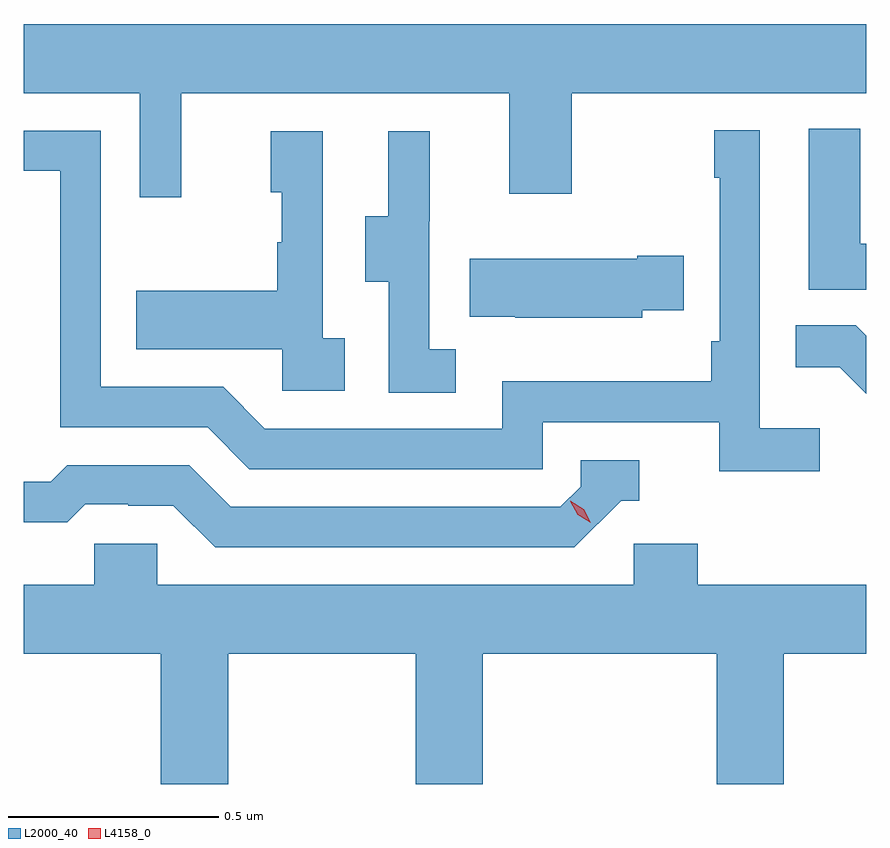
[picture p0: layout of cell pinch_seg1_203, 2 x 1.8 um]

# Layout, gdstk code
import gdstk
lib = gdstk.Library(unit=1e-6, precision=1e-09)
def P(c, l, *ps):  # polygons
    for p in ps: c.add(gdstk.Polygon(p, *l))
L2000_40 = (2000, 40)
L4158_0 = (4158, 0)

pinch_seg1_203 = lib.new_cell('pinch_seg1_203')
P(pinch_seg1_203, L2000_40, [(972.617,574.376),(973.397,574.376),(973.397,574.137),(973.545,574.137),(973.545,574.376),(974.244,574.376),(974.244,574.54),(972.244,574.54),(972.244,574.376),(972.519,574.376),(972.519,574.128),(972.617,574.128)],
  [(974.244,574.018),(974.23,574.018),(974.23,574.291),(974.108,574.291),(974.108,573.909),(974.244,573.909)],
  [(974.134,573.58),(973.992,573.58),(973.992,574.288),(973.884,574.288),(973.884,574.175),(973.896,574.175),(973.896,573.787),(973.876,573.787),(973.876,573.691),(973.38,573.691),(973.38,573.579),(972.816,573.579),(972.717,573.678),(972.426,573.678),(972.426,574.287),(972.244,574.287),(972.244,574.191),(972.33,574.191),(972.33,573.582),(972.68,573.582),(972.779,573.483),(973.476,573.483),(973.476,573.594),(973.895,573.594),(973.895,573.478),(974.134,573.478)],
  [(973.27,573.767),(973.206,573.767),(973.206,574.071),(973.208,574.071),(973.208,574.285),(973.109,574.285),(973.109,574.083),(973.055,574.083),(973.055,573.928),(973.11,573.928),(973.11,573.664),(973.27,573.664)],
  [(973.006,573.794),(972.954,573.794),(972.954,574.285),(972.83,574.285),(972.83,574.14),(972.856,574.14),(972.856,574.022),(972.846,574.022),(972.846,573.907),(972.511,573.907),(972.511,573.767),(972.858,573.767),(972.858,573.669),(973.006,573.669)],
  [(973.713,573.86),(973.811,573.86),(973.811,573.99),(973.7,573.99),(973.7,573.982),(973.303,573.982),(973.303,573.845),(973.411,573.845),(973.411,573.842),(973.713,573.842)],
  [(974.244,573.8),(974.22,573.824),(974.077,573.824),(974.077,573.725),(974.181,573.725),(974.244,573.662)],
  [(973.662,573.408),(973.705,573.408),(973.705,573.504),(973.566,573.504),(973.566,573.441),(973.518,573.393),(972.735,573.393),(972.636,573.492),(972.347,573.492),(972.308,573.453),(972.244,573.453),(972.244,573.357),(972.347,573.357),(972.389,573.399),(972.492,573.399),(972.492,573.396),(972.599,573.396),(972.698,573.297),(973.551,573.297)],
  [(973.889,572.735),(974.049,572.735),(974.049,573.044),(974.244,573.044),(974.244,573.208),(973.844,573.208),(973.844,573.306),(973.692,573.306),(973.692,573.208),(972.561,573.208),(972.561,573.306),(972.411,573.306),(972.411,573.208),(972.244,573.208),(972.244,573.044),(972.569,573.044),(972.569,572.735),(972.729,572.735),(972.729,573.044),(973.174,573.044),(973.174,572.735),(973.334,572.735),(973.334,573.044),(973.889,573.044)])
P(pinch_seg1_203, L4158_0, [(973.59,573.355),(973.559,573.375),(973.542,573.407),(973.542,573.408),(973.542,573.408),(973.574,573.388),(973.59,573.356),(973.59,573.355)])

lib.write_gds('pinch_seg1_203.gds')
